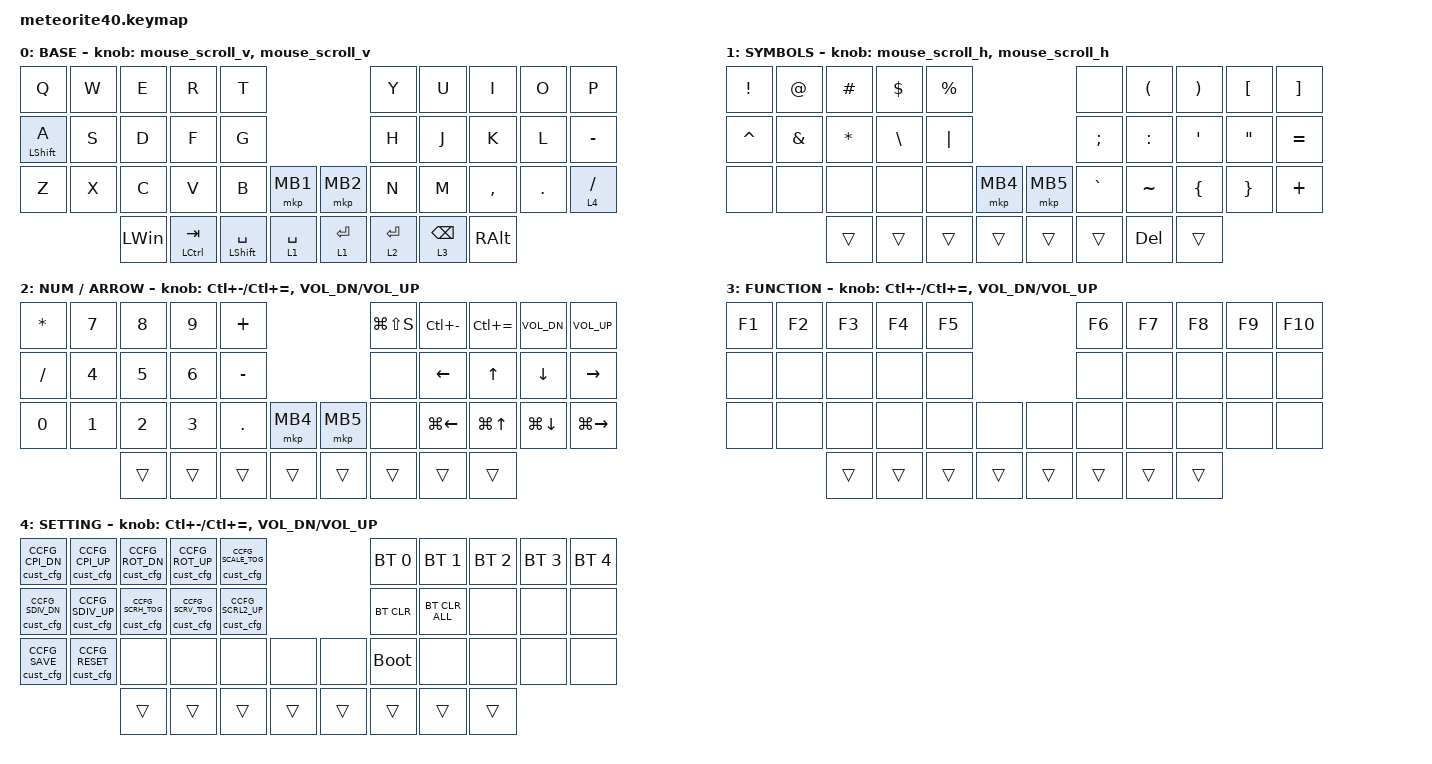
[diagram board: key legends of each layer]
#include <behaviors.dtsi>
#include <dt-bindings/zmk/bt.h>
#include <dt-bindings/zmk/keys.h>
#include <behaviors/custom_config.dtsi>
#include <dt-bindings/zmk/custom_config.h>

#define ZMK_POINTING_DEFAULT_SCRL_VAL 200
#include <dt-bindings/zmk/pointing.h>

&mt { 
    flavor = "tap-preferred"; // change hold to tap
    tapping-term-ms = <200>;
    quick-tap-ms = <150>; // change 200 to 150
};

&lt {
    flavor = "tap-preferred";
    tapping-term-ms = <150>; // change 200 to 150
    quick-tap-ms = <150>; // change 200 to 150
};

/ { 
    behaviors {
        mouse_scroll_h: mouse_scroll_h {
            compatible = "zmk,behavior-sensor-rotate";
            #sensor-binding-cells = <0>;
            bindings = <&msc SCRL_RIGHT>, <&msc SCRL_LEFT>; // CW / CCW fixed
            tap-ms = <25>;
        };

        mouse_scroll_v: mouse_scroll_v {
            compatible = "zmk,behavior-sensor-rotate";
            #sensor-binding-cells = <0>;
            bindings = <&msc SCRL_UP>, <&msc SCRL_DOWN>; // CW / CCW fixed
            tap-ms = <25>;
        };
    };

    combos {
        compatible = "zmk,combos";

        lang1 {
            bindings = <&kp LANG1>;
            key-positions = <12 13>; /* D + F */
            layers = <0>;
        };

        lang2 {
            bindings = <&kp LANG2>;
            key-positions = <16 17>; /* J + K */
            layers = <0>;
        };

        esc {
            bindings = <&kp ESCAPE>;
            key-positions = <20 21>; /* Z + X */
            layers = <0>;
        };

        tab {
            bindings = <&kp TAB>;
            key-positions = <0 1>; /* Q + W */
            layers = <0>;
        };

        home {
            bindings = <&kp HOME>;
            key-positions = <16 17>; /* J + K (on layer 2) */
            layers = <2>;
        };

        end {
            bindings = <&kp END>;
            key-positions = <18 19>; /* L + - (on layer 2) */
            layers = <2>;
        };

        ctrl_home {
            bindings = <&kp LC(HOME)>;
            key-positions = <16 18>; /* J + L (on layer 2) */
            layers = <2>;
        };

        ctrl_end {
            bindings = <&kp LC(END)>;
            key-positions = <17 19>; /* K + - (on layer 2) */
            layers = <2>;
        };
    };

    keymap {
        compatible = "zmk,keymap";
        layout = &LAYOUT_2U_SPACE;

        win_default_layer {
            display-name = "BASE";
            bindings = <
                &kp Q        &kp W       &kp E        &kp R        &kp T                                 &kp Y        &kp U       &kp I       &kp O  &kp P
                &mt LSHIFT A &kp S       &kp D        &kp F        &kp G                                 &kp H        &kp J       &kp K       &kp L  &kp MINUS
                &kp Z        &kp X       &kp C        &kp V        &kp B        &mkp MB1     &mkp MB2    &kp N        &kp M       &kp COMMA   &kp DOT  &lt 4 SLASH
                                    &kp LWIN  &mt LCTRL TAB  &mt LSHIFT SPACE  &lt 1 SPACE  &lt 1 ENTER  &lt 2 ENTER  &lt 3 BSPC  &kp RALT
            >;

            sensor-bindings =
                <&mouse_scroll_v>, //ロータリーエンコーダー左
                <&mouse_scroll_v>; //ロータリーエンコーダー右
                //<&inc_dec_kp LC(MINUS) LC(EQUAL)>, // RE0: ctrl + - / +,,,
                //<&inc_dec_kp C_VOL_DN C_VOL_UP>; // RE1: volume down/up
        };

        layer_1 {
            display-name = "SYMBOLS";
            bindings = <
                &kp EXCL   &kp AT    &kp HASH  &kp DLLR  &kp PRCNT                       &none      &kp LPAR   &kp RPAR   &kp LBKT   &kp RBKT
                &kp CARET  &kp AMPS  &kp STAR  &kp BSLH  &kp PIPE                        &kp SEMI   &kp COLON  &kp SQT    &kp DQT    &kp EQUAL
                &none      &none     &none     &none     &none      &mkp MB4  &mkp MB5   &kp GRAVE  &kp TILDE  &kp LBRC   &kp RBRC   &kp PLUS
                                     &trans     &trans    &trans    &trans    &trans     &trans    &kp DEL     &trans
            >;

            sensor-bindings =
                <&mouse_scroll_h>, //ロータリーエンコーダー左
                <&mouse_scroll_h>; //ロータリーエンコーダー右
                //<&inc_dec_kp LC(MINUS) LC(EQUAL)>, // RE0: ctrl + - / +,,,
                //<&inc_dec_kp C_VOL_DN C_VOL_UP>; // RE1: volume down/up
        };

        layer_2 {
            display-name = "NUM / ARROW";
            bindings = <
                &kp ASTRK        &kp N7     &kp N8     &kp N9     &kp PLUS                        &kp LG(LS(S)) &kp LC(MINUS) &kp LC(EQUAL) &kp C_VOL_DN &kp C_VOL_UP
                &kp SLASH        &kp N4     &kp N5     &kp N6     &kp MINUS                       &none         &kp LEFT      &kp UP        &kp DOWN     &kp RIGHT
                &kp N0           &kp N1     &kp N2     &kp N3     &kp DOT   &mkp MB4   &mkp MB5   &none         &kp LG(LEFT)  &kp LG(UP)    &kp LG(DOWN) &kp LG(RIGHT)
                                        &trans           &trans     &trans     &trans    &trans        &trans  &trans    &trans
            >;

            sensor-bindings =
                <&inc_dec_kp LC(MINUS) LC(EQUAL)>, // RE0: ctrl + - / +,,,
                <&inc_dec_kp C_VOL_DN C_VOL_UP>; // RE1: volume down/up

        };

        layer_3 {
            display-name = "FUNCTION";
            bindings = <
                &kp F1  &kp F2  &kp F3  &kp F4  &kp F5                  &kp F6  &kp F7  &kp F8  &kp F9  &kp F10
                &none   &none   &none   &none   &none                   &none   &none   &none   &none   &none
                &none   &none   &none   &none   &none   &none   &none   &none   &none   &none    &none  &none
                                &trans  &trans  &trans  &trans  &trans  &trans  &trans  &trans
            >;

            sensor-bindings =
                <&inc_dec_kp LC(MINUS) LC(EQUAL)>, // RE0: ctrl + - / +,,,
                <&inc_dec_kp C_VOL_DN C_VOL_UP>; // RE1: volume down/up

        };

        layer_4 {
			display-name = "SETTING";
			bindings = <
				&cust_cfg CCFG_CPI_DN  &cust_cfg CCFG_CPI_UP  &cust_cfg CCFG_ROT_DN   &cust_cfg CCFG_ROT_UP   &cust_cfg CCFG_SCALE_TOG                  &bt BT_SEL 0   &bt BT_SEL 1    &bt BT_SEL 2  &bt BT_SEL 3  &bt BT_SEL 4
				&cust_cfg CCFG_SDIV_DN &cust_cfg CCFG_SDIV_UP &cust_cfg CCFG_SCRH_TOG &cust_cfg CCFG_SCRV_TOG &cust_cfg CCFG_SCRL2_UP                   &bt BT_CLR     &bt BT_CLR_ALL  &none         &none         &none
				&cust_cfg CCFG_SAVE    &cust_cfg CCFG_RESET   &none                   &none                   &none                    &none &none      &bootloader    &none           &none         &none         &none
												                                                 &trans       &trans  &trans  &trans  &trans  &trans    &trans        &trans
			>;

            sensor-bindings =
                <&inc_dec_kp LC(MINUS) LC(EQUAL)>, // RE0: ctrl + - / +,,,
                <&inc_dec_kp C_VOL_DN C_VOL_UP>; // RE1: volume down/up

        };
    };
};
